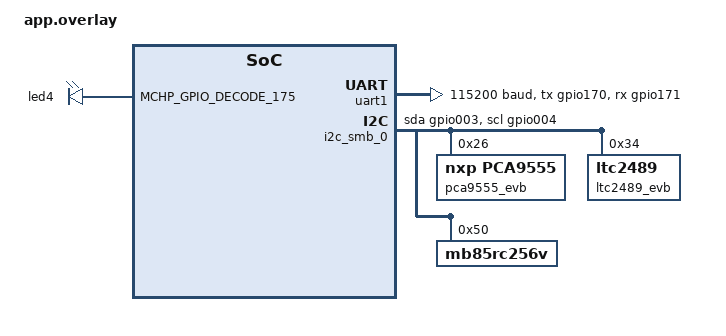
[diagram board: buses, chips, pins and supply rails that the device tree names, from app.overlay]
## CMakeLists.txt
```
# SPDX-License-Identifier: Apache-2.0

cmake_minimum_required(VERSION 3.20.0)

find_package(Zephyr REQUIRED HINTS $ENV{ZEPHYR_BASE})
project(i2c)

target_sources(app PRIVATE src/main.c)
```

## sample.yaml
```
tests:
  boards.mec_assy6941.i2c:
    build_only: true
    platform_allow:
      - mec_assy6941_mec1743qlj
      - mec_assy6941_mec1743qsz
      - mec_assy6941_mec1753qlj
      - mec_assy6941_mec1753qsz
    tags: drivers i2c
```

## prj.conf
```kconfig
CONFIG_LOG=y
CONFIG_LOG_MODE_IMMEDIATE=y
#CONFIG_LOG_MODE_MINIMAL=y
#CONFIG_LOG_MODE_DEFERRED=y
#CONFIG_LOG_BUFFER_SIZE=2048
#CONFIG_LOG_BACKEND_SWO=y
#CONFIG_LOG_BACKEND_SWO_FREQ_HZ=4000000

CONFIG_GPIO=y
CONFIG_PINCTRL=y
CONFIG_LED=y
CONFIG_SERIAL=y
CONFIG_CONSOLE=y
CONFIG_UART_CONSOLE=y
CONFIG_I2C=y

# CONFIG_PM=n

# Help debug new code
# CONFIG_DEBUG_COREDUMP=y
# CONFIG_TRAP_UNALIGNED_ACCESS=y
# CONFIG_SOC_MEC5_DEBUG_AND_TRACING=y
# CONFIG_SOC_MEC5_DEBUG_AND_SWV_TRACING=y
# CONFIG_DEBUG=y
```

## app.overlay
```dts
/*
 * Copyright (c) 2024 Microchip Technology Inc.
 *
 * SPDX-License-Identifier: Apache-2.0
 */

#include <zephyr/dt-bindings/gpio/gpio.h>
#include <zephyr/dt-bindings/gpio/microchip-xec-gpio.h>

/*
 * MEC5_ASSY6941
 * JP7 2-3 GPIO055 pulled-down via 10K to ground.
 * JP23 14-15 selects GPIO055 as SHD_nCS0
 * JP42 1-2 connects 1.8V
 * JP60 2-3 VTR2 is powered by 1.8V
 * NOTE: VTR3 is always 1.8V
 *
 * Boot-ROM GPIO055 as RSMRST#
 * GPIO Control register value = 0x0200
 * Output, push-pull, driver low, no internal pulls,
 * interrupt detection = level low, alternate out enabled.
 * ROM drives pin high(inactive) using alternate out (bit[16] of control register)
 * Control register = 0x10200
 *
 * GPIO175/CMP_VOUT1/PWM8_ALT on schematic, LED4 on silkscreen.
 *
 * I2C00_SDA/SCL = GPIO003/004
 * Install Jumper JP14 4-5 to route GPIO004 as I2C00_SCL
 * Install Jumper JP14 7-8 to route GPIO003 as I2C00_SDA
 * Install Jumper JP68 21-22 7.5K pull-up to VTR1 for I2C00_SCL
 * Install Jumper JP68 23-24 7.5K pull-up to VTR1 for I2C00_SDA
 *
 * U4 is PCA9555 I2C GPIO expander
 * JP49 1-2 use +3.3V_STBY
 * JP58 1-2, 3-4 connect I2C00_SCL and I2C00_SDA to EXTERNAL_SCLK/SDATA
 * JP53 selects I2C address
 * 1-2 = A0, 3-4 = A1, 5-6 = A2 all pull-up by default. Install jumper to ground signals.
 * Installed jumper on JP53 1-2. I2C Address = 0x26
 *
 * U19 is LTC2489 I2C 4-channel delta-sigma ADC
 * Address select pins CA0, CA1 both pulled high. Install jumpers to ground signals.
 * Installed jumpers on JP124 1-2 and 3-4. I2C Address = 0x34
 *
 * Attached Fujitsu MB85RC256V I2C FRAM demo board to 6-pin header J10
 * AdaFruit I2C FRAM breakout board.
 * NOTE: removed demo board 1K pulls on SCL and SDA. Using EVB pulls on SCL/SDA.
 * This device allows testing of larger I2C messages and breaking up large transactions
 * into multiple message buffers.
 * FRAM board power -> J10-5 VTR1 (3.3V)
 * FRAM board GND   -> J10-6 GND
 * FRAM board SCL   -> J10-1 I2C00_SCL
 * FRAM board SDA   -> J10-3 I2C00_SDA
 * FRAM address pins A0, A1, A2 are internally pulled-down.
 * I2C Address = 1010_A2_A1_A0 = 0x50 (default)
 */

/ {
	chosen {
		zephyr,console = &uart1;
	};

	aliases {
		spi0 = &qspi0;
		led0 = &led4;
		i2c0 = &i2c_smb_0;
		i2c-0 = &i2c_smb_0;
	};

	leds {
		compatible = "gpio-leds";
		led4: led_0 {
			gpios = <MCHP_GPIO_DECODE_175 GPIO_ACTIVE_HIGH>;
		};
	};
};

&i2c00_scl_gpio004 {
	drive-open-drain;
	output-enable;
	output-high;
	drive-strength = "4x";
};

&i2c00_sda_gpio003 {
	drive-open-drain;
	output-enable;
	output-high;
	drive-strength = "4x";
};

&uart1 {
	current-speed = <115200>;
	status = "okay";
	pinctrl-0 = <&uart1_tx_gpio170 &uart1_rx_gpio171>;
	pinctrl-names = "default";
};

&i2c_smb_0 {
	status = "okay";
	port_sel = < 0 >;
	sda-gpios = < MCHP_GPIO_DECODE_003 0 >;
	scl-gpios = < MCHP_GPIO_DECODE_004 0 >;
	pinctrl-0 = < &i2c00_sda_gpio003 &i2c00_scl_gpio004 >;
	pinctrl-names = "default";

	pca9555_evb: pca9555@26 {
		/* Zephyr will load NXP PCA9555 driver after MEC5 I2C because it calls MEC5 I2C during init */
		compatible = "nxp,pca9555";
		reg = <0x26>;
		gpio-controller;
		#gpio-cells = <2>;
	};

	ltc2489_evb: ltc2489@34 {
		/* No Zephyr driver exists */
		reg = <0x34>;
		#io-channels-cells = <1>;
	};

	/* External Fujitsu MB85RC256V 256KB (32K x 8) FRAM */
	mb85rc256v: mb85rc256v@50 {
		/* No Zephyr driver exists */
		reg = <0x50>;
	};
};
```

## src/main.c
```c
/*
 * Copyright (c) 2012-2014 Wind River Systems, Inc.
 * Copyright (c) 2022 Microchip Technology, Inc.
 *
 * SPDX-License-Identifier: Apache-2.0
 */

#include <errno.h>
#include <stdint.h>
#include <string.h>
#include <soc.h>

#include <zephyr/device.h>
#include <zephyr/devicetree.h>
#include <zephyr/kernel.h>
#include <zephyr/drivers/gpio.h>
#include <zephyr/drivers/i2c.h>
#include <zephyr/drivers/led.h>
#include <zephyr/drivers/pinctrl.h>
#include <zephyr/drivers/spi.h>
#include <zephyr/sys/sys_io.h>

#include <zephyr/logging/log_ctrl.h>
#include <zephyr/logging/log.h>
LOG_MODULE_REGISTER(app, CONFIG_LOG_DEFAULT_LEVEL);

#define I2C_TARGET_NOT_PRESENT_ADDR 0x56

/* LTC2489 ADC conversion time using internal clock.
 * If a converstion is in progress LTC2489 will NACK its address.
 */
#define LTC2489_ADC_CONV_TIME_MS 150
#define LTC2489_ADC_READ_RETRIES 10

static const struct device *i2c_dev = DEVICE_DT_GET(DT_ALIAS(i2c0));

/* Access devices on an I2C bus using Device Tree child nodes of the I2C controller */
static const struct i2c_dt_spec pca9555_dts = I2C_DT_SPEC_GET(DT_NODELABEL(pca9555_evb));
static const struct i2c_dt_spec ltc2489_dts = I2C_DT_SPEC_GET(DT_NODELABEL(ltc2489_evb));
static const struct i2c_dt_spec mb85rc256v_dts = I2C_DT_SPEC_GET(DT_NODELABEL(mb85rc256v));

static volatile uint32_t spin_val;
static volatile int ret_val;

static void spin_on(uint32_t id, int rval);

uint8_t buf1[256];
uint8_t buf2[256];
uint8_t buf3[256];

int main(void)
{
	int ret = 0;
	uint32_t i2c_dev_config = 0;
	uint32_t adc_retry_count = 0;
	uint32_t temp = 0;
	uint32_t fram_nbytes = 0;
	uint16_t fram_mem_addr = 0;
	uint8_t nmsgs = 0;
	uint8_t target_addr = 0;
	struct i2c_msg msgs[4];

	LOG_INF("MEC5 I2C sample: board: %s", DT_N_P_compatible_IDX_0);

	memset(msgs, 0, sizeof(msgs));
	memset(buf1, 0x55, sizeof(buf1));
	memset(buf2, 0x55, sizeof(buf2));

	if (!device_is_ready(i2c_dev)) {
		LOG_ERR("I2C device is not ready! (%d)", -3);
		spin_on(2u, -3);
	}

	i2c_dev_config = I2C_SPEED_SET(I2C_SPEED_STANDARD) | I2C_MODE_CONTROLLER;

	ret = i2c_configure(i2c_dev, i2c_dev_config);
	if (ret) {
		LOG_ERR("I2C configuration error (%d)", ret);
		spin_on(3u, ret);
	}

	ret = i2c_get_config(i2c_dev, &temp);
	if (ret) {
		LOG_ERR("I2C get configuration error (%d)", ret);
		spin_on(4u, ret);
	}

	if (temp != i2c_dev_config) {
		LOG_ERR("I2C configuration does not match: orig(0x%08x) returned(0x%08x)\n",
			i2c_dev_config, temp);
		spin_on(5u, ret);
	}

	/* I2C write to non-existent device: check error return and if
	 * future I2C accesses to a real device work.
	 */
	LOG_INF("Attempt I2C transaction to a non-existent address");
	target_addr = I2C_TARGET_NOT_PRESENT_ADDR;
	nmsgs = 1u;
	buf1[0] = 2u;
	buf1[1] = 0x55u;
	buf1[2] = 0xaa;
	msgs[0].buf = buf1;
	msgs[0].len = 3u;
	msgs[0].flags = I2C_MSG_WRITE | I2C_MSG_STOP;

	ret = i2c_transfer(i2c_dev, msgs, nmsgs, target_addr);
	if (ret != 0) {
		LOG_INF("PASS: Expected API to return an error (%d)", ret);
	} else {
		LOG_ERR("FAIL: I2C API should have returned an error!");
		spin_on(6u, ret);
	}

	for (int i = 0; i < 3; i++) {
		LOG_INF("I2C Write 3 bytes to PCA9555 target device");

		nmsgs = 1u;
		buf1[0] = 2u; /* PCA9555 cmd=2 is output port 0 */
		buf1[1] = 0x55u;
		buf1[2] = 0xaau;
		msgs[0].buf = buf1;
		msgs[0].len = 3u;
		msgs[0].flags = I2C_MSG_WRITE | I2C_MSG_STOP;

		ret = i2c_transfer_dt(&pca9555_dts, msgs, nmsgs);
		if (ret) {
			LOG_ERR("Loop %d: I2C write to PCA9555 error (%d)", i, ret);
			spin_on(7u, ret);
		}
	}

	LOG_INF("Write 3 bytes to PCA9555 target using multiple write buffers");
	nmsgs = 3u;
	buf1[0] = 2u;
	buf1[1] = 0x33u;
	buf1[2] = 0xcc;
	msgs[0].buf = buf1;
	msgs[0].len = 1u;
	msgs[0].flags = I2C_MSG_WRITE;
	msgs[1].buf = &buf1[1];
	msgs[1].len = 1u;
	msgs[1].flags = I2C_MSG_WRITE;
	msgs[2].buf = &buf1[2];
	msgs[2].len = 1u;
	msgs[2].flags = I2C_MSG_WRITE | I2C_MSG_STOP;

	ret = i2c_transfer_dt(&pca9555_dts, msgs, nmsgs);
	if (ret) {
		LOG_ERR("I2C write multiple buffers to PCA9555 error (%d)", ret);
		spin_on(7u, ret);
	}

	LOG_INF("Read both PCA9555 input ports");

	/* PCA9555 read protocol: START TX[wrAddr, cmd],
	 * Rpt-START TX[rdAddr],  RX[data,...], STOP
	 */
	nmsgs = 2u;
	buf1[0] = 0u; /* PCA9555 cmd=0 is input port 0 */
	buf2[0] = 0x55u; /* receive buffer */
	buf2[1] = 0x55u;

	msgs[0].buf = buf1;
	msgs[0].len = 1u;
	msgs[0].flags = I2C_MSG_WRITE;

	msgs[1].buf = buf2;
	msgs[1].len = 2u;
	msgs[1].flags = I2C_MSG_READ | I2C_MSG_STOP;

	ret = i2c_transfer_dt(&pca9555_dts, msgs, nmsgs);
	if (ret) {
		LOG_ERR("I2C transfer error: write cmd byte, read 2 data bytes: (%d)", ret);
		spin_on(8u, ret);
	}

	LOG_INF("PCA9555 Port 0 input = 0x%02x  Port 1 input = 0x%02x", buf2[0], buf2[1]);

	LOG_INF("Read both PCA9555 input ports using different buffers for each port");
	nmsgs = 3u;

	buf1[0] = 0u; /* PCA9555 cmd=0 is input port 0 */
	buf2[0] = 0x55u; /* first receive buffer */
	buf2[1] = 0x55u;
	buf2[8] = 0x55u; /* second receive buffer */
	buf2[9] = 0x55u;

	msgs[0].buf = buf1;
	msgs[0].len = 1u;
	msgs[0].flags = I2C_MSG_WRITE;

	msgs[1].buf = buf2;
	msgs[1].len = 1u;
	msgs[1].flags = I2C_MSG_READ;

	msgs[2].buf = &buf2[8];
	msgs[2].len = 1u;
	msgs[2].flags = I2C_MSG_READ | I2C_MSG_STOP;

	ret = i2c_transfer_dt(&pca9555_dts, msgs, nmsgs);
	if (ret) {
		LOG_ERR("I2C transfer error: 3 messages: (%d)", ret);
		spin_on(9u, ret);
	}

	LOG_INF("PCA9555 Port 0 input = 0x%02x  Port 1 input = 0x%02x", buf2[0], buf2[8]);

	LOG_INF("Select ADC channel 0 in LTC2489. This triggers a conversion!");
	nmsgs = 1;
	buf1[0] = 0xb0u; /* 1011_0000 selects channel 0 as single ended */
	msgs[0].buf = buf1;
	msgs[0].len = 1u;
	msgs[0].flags = I2C_MSG_WRITE | I2C_MSG_STOP;

	ret = i2c_transfer_dt(&ltc2489_dts, msgs, nmsgs);
	if (ret) {
		LOG_ERR("I2C write to set LTC2489 channel failed: (%d)", ret);
		spin_on(10u, ret);
	}

	/* wait for LTC2489 to finish a conversion */
	k_sleep(K_MSEC(LTC2489_ADC_CONV_TIME_MS));

	/* LTC2489 ADC read protocol is I2C read: START TX[rdAddr]
	 * RX[data[7:0], data[15:8], data[23:16]] STOP
	 */
	LOG_INF("Read 24-bit ADC reading from LTC2489");
	adc_retry_count = 0;
	do {
		buf2[0] = 0x55;
		buf2[1] = 0x55;
		buf2[2] = 0x55;

		nmsgs = 1;
		msgs[0].buf = buf2;
		msgs[0].len = 3u;
		msgs[0].flags = I2C_MSG_READ | I2C_MSG_STOP;

		ret = i2c_transfer_dt(&ltc2489_dts, msgs, nmsgs);
		if (ret) {
			adc_retry_count++;
			LOG_INF("LTC2489 read error (%d)", ret);
		}
	} while ((ret != 0) && (adc_retry_count < LTC2489_ADC_READ_RETRIES));

	if (ret == 0) {
		temp = ((uint32_t)(buf2[0]) + (((uint32_t)(buf2[1])) << 8)
				+ (((uint32_t)(buf2[2])) << 16));
		LOG_INF("LTC2489 reading = 0x%08x", temp);
	}

	/* I2C FRAM tests */
	fram_nbytes = 64u;
	fram_mem_addr = 0x1234u;

	LOG_INF("MB85RC256V FRAM write %u bytes to offset 0x%x", fram_nbytes, fram_mem_addr);

	for (temp = 0; temp < fram_nbytes; temp++) {
		buf2[temp] = (uint8_t)((temp + 1u) & 0xffu);
	}

	nmsgs = 2;
	buf1[0] = (uint8_t)((fram_mem_addr >> 8) & 0xffu); /* address b[15:8] */
	buf1[1] = (uint8_t)((fram_mem_addr) & 0xffu); /* address b[7:0] */

	msgs[0].buf = buf1;
	msgs[0].len = 2u;
	msgs[0].flags = I2C_MSG_WRITE;
	msgs[1].buf = buf2;
	msgs[1].len = fram_nbytes;
	msgs[1].flags = I2C_MSG_WRITE | I2C_MSG_STOP;

	ret = i2c_transfer_dt(&mb85rc256v_dts, msgs, nmsgs);
	if (ret) {
		LOG_ERR("I2C API for FRAM write returned error %d", ret);
		spin_on(13, ret);
	}

	LOG_INF("MB85RC256V FRAM read %u bytes from offset 0x%x", fram_nbytes, fram_mem_addr);
	memset(buf3, 0x55, sizeof(buf3));

	nmsgs = 2;
	buf1[0] = (uint8_t)((fram_mem_addr >> 8) & 0xffu); /* address b[15:8] */
	buf1[1] = (uint8_t)((fram_mem_addr) & 0xffu); /* address b[7:0] */

	msgs[0].buf = buf1;
	msgs[0].len = 2u;
	msgs[0].flags = I2C_MSG_WRITE;
	msgs[1].buf = buf3;
	msgs[1].len = fram_nbytes;
	msgs[1].flags = I2C_MSG_READ | I2C_MSG_STOP;

	ret = i2c_transfer_dt(&mb85rc256v_dts, msgs, nmsgs);
	if (ret) {
		LOG_ERR("I2C API for FRAM read returned error %d", ret);
		spin_on(13, ret);
	}

	ret = memcmp(buf2, buf3, fram_nbytes);
	if (ret == 0) {
		LOG_INF("Compare read of data written to FRAM matches: PASS");
	} else {
		LOG_ERR("Compare read of data written to FRAM has mismatch: FAIL");
	}

	LOG_INF("Application Done (%d)", ret);
	spin_on(256, 0);

	return 0;
}

static void spin_on(uint32_t id, int rval)
{
	spin_val = id;
	ret_val = rval;

	log_panic(); /* flush log buffers */

	while (spin_val) {
		;
	}
}
```
